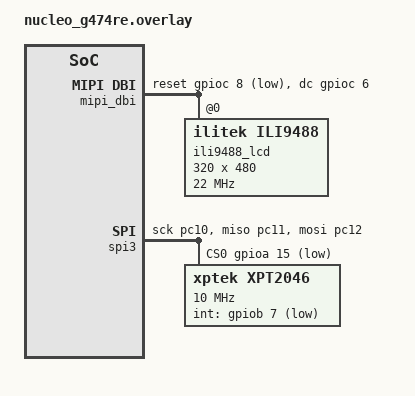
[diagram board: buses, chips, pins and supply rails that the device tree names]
/*
 * SPI1 is pre-configured in nucleo_g474re.dts on PA5/PA6/PA7 with
 * cs-gpios = PB6. The ILI9488 panel is driven through a zephyr,mipi-dbi-spi
 * controller on SPI1 with PC8=RESET, PC6=DC as GPIOs.
 *
 * Pin conflicts resolved here:
 *  - green LED on PA5                  -> leds/pwmleds/timers2 disabled (PA5 = SPI1 SCK)
 *  - console/shell on lpuart1 (PA2/PA3) -> ST-LINK VCP (/dev/ttyACM0); usart1 (PC4/PC5) disabled
 *  - spi2 (PB12-15) disabled, its pins are not used
 *  - spi3 (PC10-12) carries the XPT2046 resistive touch of the MSP3520:
 *      T_CLK=PC10(SCK) T_DIN=PC12(MOSI) T_DO=PC11(MISO)
 *      T_CS=PA15(GPIO CS, replaces the spi3 NSS alt-function)
 *      T_IRQ=PB7(GPIO, active-low pen-down edge IRQ)
 *
 * Board 3V3 and 5V header rails power the panel (backlight/VIN), no DT node.
 */

#include <zephyr/dt-bindings/display/panel.h>
#include <zephyr/dt-bindings/dma/stm32_dma.h>
#include <freq.h>

/ {
    chosen {
        zephyr,console = &lpuart1;
        zephyr,shell-uart = &lpuart1;
        zephyr,display = &ili9488_lcd;
        zephyr,touch = &xpt2046;
    };

    mipi_dbi: mipi_dbi {
        compatible = "zephyr,mipi-dbi-spi";
        spi-dev = <&spi1>;
        dc-gpios = <&gpioc 6 GPIO_ACTIVE_HIGH>;
        reset-gpios = <&gpioc 8 GPIO_ACTIVE_LOW>;
        #address-cells = <1>;
        #size-cells = <0>;
        status = "okay";

        ili9488_lcd: ili9488@0 {
            compatible = "ilitek,ili9488";
            reg = <0>;
            mipi-mode = "MIPI_DBI_MODE_SPI_4WIRE";
            /* 4 MHz matches the proven ili9488_diag SPI speed on this wiring. */
            mipi-max-frequency = <DT_FREQ_M(22)>;
            /* Physical GRAM is 320x480; rotation 0 keeps the panel in its
             * native portrait orientation so the HMI demo matches the
             * 320x480 Linux simulator layout (MADCTL BGR only). */
            width = <320>;
            height = <480>;
            /* RGB_888: the ILI9488 is driven in its native 18-bit RGB666 mode
             * (COLMOD 0x66, 3 bytes/pixel), the only mode validated to render
             * correct colors on this panel through the 4-wire SPI path. */
            pixel-format = <PANEL_PIXEL_FORMAT_RGB_888>;
            rotation = <180>;
            /* LCDWIKI MSP3520 initsq16 register table. */
            frmctr1 = [b0 11];
            disctrl = [02 22 3b];
            pwctrl1 = [11 09];
            pwctrl2 = [41];
            vmctrl = [00 0a 80 40];
            pgamctrl = [00 07 10 09 17 0b 41 89 4b 0a 0c 0e 18 1b 0f];
            ngamctrl = [00 17 1a 04 0e 06 2f 45 43 02 0a 09 32 36 0f];
            status = "okay";
        };
    };
};

&leds {
    status = "disabled";
};

&usart1 {
    status = "disabled";
};

/ {
    pwmleds {
        status = "disabled";
    };
};

&timers2 {
    status = "disabled";
};

&spi2 {
    status = "disabled";
};

&spi3 {
	/* PA15 becomes a GPIO chip-select for the touch controller instead
	 * of the spi3 NSS alternate function. */
	pinctrl-0 = <&spi3_sck_pc10 &spi3_miso_pc11 &spi3_mosi_pc12>;
	pinctrl-names = "default";
	cs-gpios = <&gpioa 15 GPIO_ACTIVE_LOW>;

	/* Upstream Zephyr xptek,xpt2046 (interleaved Z/X/Y read + cal). */
	xpt2046: xpt2046@0 {
		compatible = "xptek,xpt2046";
		reg = <0>;
		spi-max-frequency = <DT_FREQ_M(10)>;
		int-gpios = <&gpiob 7 GPIO_ACTIVE_LOW>;

		/* Calibrated so a tap on the Gauges tab (top-left) lands on
		 * LVGL (0,0). Measured Gauges-tab tap: raw (3907, 683) =>
		 * that corner maps to the X maximum and Y minimum. The touch
		 * axes land X-increasing left-to-right and Y-increasing
		 * downward on the panel; min-x comes from the rightmost tab
		 * (raw ~416 in a tab-row sweep), max-y stays a placeholder
		 * until a bottom-corner tap is measured. Driver maps
		 * min/max raw -> 0..touchscreen-size-*, then touchscreen-common
		 * scales into the ili9488 320x480 panel; screen-width/height
		 * must match that span or scaling is skipped. */
		min-x = <380>;
		max-x = <3907>;
		min-y = <683>;
		max-y = <3800>;
		touchscreen-size-x = <4096>;
		touchscreen-size-y = <4096>;
		z-threshold = <100>;
		reads = <4>;

		/* Invert Y so LVGL y=0 is the raw-y-minimum edge (the Gauges
		 * tab). If the first bottom-corner tap lands mirror-inverted,
		 * flip this to max-y = <683> with no inverted-y instead. */
		inverted-y;

		screen-width = <4096>;
		screen-height = <4096>;
		display = <&ili9488_lcd>;
	};
};

&dma1 {
    status = "disabled";
};

&dmamux1 {
    status = "disabled";
};
